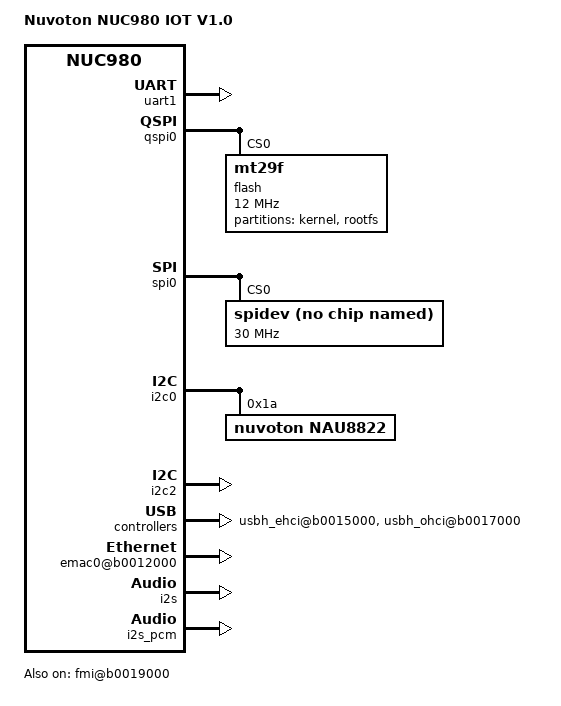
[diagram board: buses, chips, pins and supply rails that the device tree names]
/*
 * Device Tree Source for NUC980 IOT board
 *
 * Copyright (C) 2019 Nuvoton Technology Corp.
 *
 * The code contained herein is licensed under the GNU General Public
 * License. You may obtain a copy of the GNU General Public License
 * Version 2 or later at the following locations:
 *
 * http://www.opensource.org/licenses/gpl-license.html
 * http://www.gnu.org/copyleft/gpl.html
 */
/dts-v1/;
/include/ "nuc980.dtsi"

/ {
	model = "Nuvoton NUC980 IOT V1.0";
	compatible = "nuvoton,nuc980-dev-v1.0", "nuvoton,nuc980";

	chosen {
		bootargs = "root=/dev/ram0 console=ttyS0,115200n8 rdinit=/sbin/init mem=64M lpj=744448";
	};

	apb {
		uart1: serial@b0071000 {
			pinctrl-names = "default";
			pinctrl-0 = <&pinctrl_uart1_PF>;
			pdma-enable = <1>;
			status = "okay";
		};

		uart2: serial@b0072000 {
			status = "disabled";
		};

		uart3: serial@b0073000 {
			status = "disabled";
		};

		uart4: serial@b0074000 {
			pinctrl-names = "default";
			pinctrl-0 = <&pinctrl_uart4_PD>;
			pdma-enable = <1>;
			status = "disabled";
		};

		uart5: serial@b0075000 {
			pinctrl-names = "default";
			pinctrl-0 = <&pinctrl_uart5_PG>;
			pdma-enable = <1>;
			status = "disabled";
		};

		uart6: serial@b0076000 {
			pinctrl-names = "default";
			pinctrl-0 = <&pinctrl_uart6_PD>;
			pdma-enable = <1>;
			status = "disabled";
		};

		uart7: serial@b0077000 {
			pinctrl-names = "default";
			pinctrl-0 = <&pinctrl_uart7_PB>;
			pdma-enable = <1>;
			status = "disabled";
		};

		uart8: serial@b0078000 {
			status = "disabled";
		};

		uart9: serial@b0079000 {
			pinctrl-names = "default";
			pinctrl-0 = <&pinctrl_uart9_PB_PE>;
			pdma-enable = <1>;
			status = "disabled";
		};

		can0: can@b00a0000 {
			status = "disabled";
		};

		can1: can@b00a1000 {
			status = "disabled";
		};

		rtc: rtc@b0041000 {
			status = "disabled";
		};

		nadc: nadc@b0043000 {
			status = "disabled";
		};

		pwm0: pwm0@b0058000 {
			status = "disabled";
		};

		pwm1: pwm1@b0059000 {
			status = "disabled";
		};

		qspi0: qspi0@b0060000 {
			status = "okay";
			#address-cells = <1>;
			#size-cells = <0>;

			num_cs  = <2>;
			lsb	 = <0>;
			txneg   = <1>;
			rxneg   = <0>;
			clkpol  = <0>;
			divider = <4>;
			sleep   = <0>;
			txnum   = <0>;
			txbitlen = <8>;
			bus_num	= <0>;

			flash: mt29f@0 {
				compatible = "mt29f";
				#address-cells = <1>;
				#size-cells = <1>;
				reg = <0>;
				spi-max-frequency = <12000000>;

				partition@0 {
					label = "kernel";
					reg = <0x00000000 0x0800000>;
				};
				partition@1 {
					label = "rootfs";
					reg = <0x0800000 0x0800000>;
				};
			};
		};

		spi0: spi0@b0061000 {
			status = "okay";
			#address-cells = <1>;
			#size-cells = <0>;

			num_cs  = <2>;
			lsb	 = <0>;
			txneg   = <1>;
			rxneg   = <0>;
			clkpol  = <0>;
			divider = <4>;
			sleep   = <0>;
			txnum   = <0>;
			txbitlen = <8>;
			bus_num	= <1>;

			spidev@0x01 {
				compatible = "spidev";
				spi-max-frequency = <30000000>;
				reg = <0>;
			};
		};

		spi1: spi1@b0062000 {
			status = "disabled";
			#address-cells = <1>;
			#size-cells = <0>;

			num_cs  = <2>;
			lsb	 = <0>;
			txneg   = <1>;
			rxneg   = <0>;
			clkpol  = <0>;
			divider = <4>;
			sleep   = <0>;
			txnum   = <0>;
			txbitlen = <8>;
			bus_num	= <2>;

			spidev@0x01 {
				compatible = "spidev";
				spi-max-frequency = <30000000>;
				reg = <0>;
			};
		};

		etimer0: etimer0@b0050000 {
			status = "disabled";
		};

		etimer1: etimer1@b0050100 {
			status = "disabled";
		};

		etimer2: etimer2@b0051000 {
			status = "disabled";
		};

		etimer3: etimer3@b0051100 {
			status = "disabled";
		};

		i2c0: i2c0@b0080000 {
			status = "okay";

			nau8822: nau8822@1a {
				compatible = "nuvoton,nau8822";
				reg = <0x1a> ;
			};
		};

		i2c1: i2c1@b0081000 {
			status = "disabled";
			pinctrl-0 = <&pinctrl_i2c1_PB>;
		};


		i2c2: i2c2@b0082000 {
			status = "okay";
			pinctrl-0 = <&pinctrl_i2c2_PB>;
		};

		i2c3: i2c3@b0083000 {
			status = "disabled";
			pinctrl-0 = <&pinctrl_i2c3_PB>;
		};

	};

	ahb {

		usbh_ehci@b0015000 {
			status = "okay";
		};
		usbh_ohci@b0017000{
			status = "okay";
		};

		usbdev@b0016000 {
			status = "disabled";
		};

		fmi@b0019000 {
			compatible = "nuvoton,nuc980-fmi", "nand";
			pinctrl-names = "default";
			pinctrl-0 = <&pinctrl_nand>;
			status = "okay";
			#address-cells = <1>;
			#size-cells = <1>;

			partition@0x0 {
				label = "u-boot";
				reg = <0x00000000 0x0200000>;
			};

			partition@0x200000 {
				label = "Kernel";
				reg = <0x0200000 0x1400000>;
			};

			partition@0x1600000 {
				label = "user";
				reg = <0x1600000 0x6480000>;
			};
		};

		sdh@b0018000 {
			status = "okay";
		};

		emac0@b0012000 {
			status = "okay";
		};
		emac1@b0022000 {
			status = "disabled";
		};
		cap0@b0024000 {
			status = "disabled";
		};
		cap1@b0014000 {
			status = "disabled";
		};
		dma@b0008000 {
			status = "okay";
		};

		i2s: i2s@b0020000 {
			status = "okay";
		};

		i2s_pcm: i2s_pcm {
			status = "okay";
		};

		sound {
			compatible = "nuvoton,nuc980-audio";
			i2s-controller = <&i2s>;
			i2s-platform = <&i2s_pcm>;
			status = "okay";
		};
		ebi: ebi@b0010000 {
			status = "disabled";
		};
	};
};
